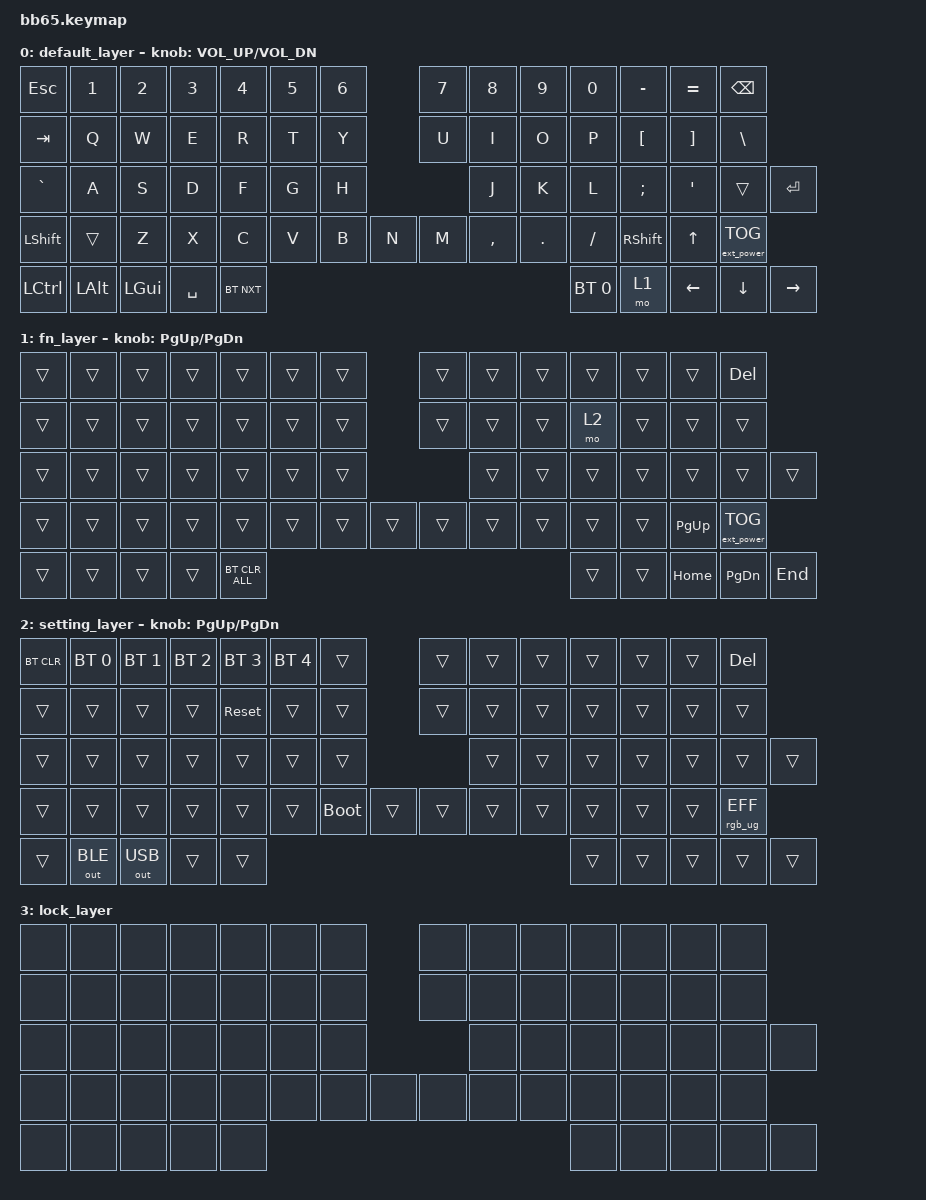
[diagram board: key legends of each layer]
/*
 * Copyright (c) 2023 The ZMK Contributors
 *
 * SPDX-License-Identifier: MIT
 */

#include <behaviors.dtsi>
#include <dt-bindings/zmk/keys.h>
#include <dt-bindings/zmk/bt.h>
#include <dt-bindings/zmk/rgb.h>
#include <dt-bindings/zmk/ext_power.h>
#include <dt-bindings/zmk/outputs.h>

#define TIMEOUT 50

// Delete this node if you didn't build with an encoder.
&encoder {
    status = "okay";
};

/ {
    combos {
        compatible = "zmk,combos";
        combo_btclr {
            timeout-ms = <TIMEOUT>;
            key-positions = <1 6>;
            bindings = <&bt BT_CLR>;
        };
        combo_reset {
            timeout-ms = <TIMEOUT>;
            key-positions = <1 3>;
            bindings = <&sys_reset>;
        };
        combo_bootloader {
            timeout-ms = <TIMEOUT>;
            key-positions = <1 15>;
            bindings = <&bootloader>;
        };
        combo_lock {
            timeout-ms = <TIMEOUT>;
            key-positions = <1 12>;
            bindings = <&tog 3>;
        };
        combo_bt_nxt {
            timeout-ms = <TIMEOUT>;
            key-positions = <1 4>;
            bindings = <&bt BT_NXT>;
        };
    };

    keymap {
        compatible = "zmk,keymap";

        default_layer {
            bindings = <
                &kp ESC             &kp N1   &kp N2 &kp N3 &kp N4   &kp N5 &kp N6 &kp N7 &kp N8    &kp N9   &kp N0    &kp MINUS &kp EQUAL &kp BSPC
                &kp TAB             &kp Q    &kp W  &kp E  &kp R    &kp T  &kp Y  &kp U  &kp I     &kp O    &kp P     &kp LBKT  &kp RBKT  &kp BSLH
                &kp GRAVE               &kp A    &kp S  &kp D  &kp F    &kp G  &kp H  &kp J  &kp K     &kp L    &kp SEMI  &kp APOS  &trans    &kp ENTER
                &kp LSHFT &trans    &kp Z    &kp X  &kp C  &kp V    &kp B  &kp N  &kp M  &kp COMMA &kp DOT  &kp FSLH  &kp RSHFT           &kp UP    &ext_power EP_TOG
                &kp LCTRL &kp LALT &kp LGUI                         &kp SPACE                      &bt BT_NXT    &bt BT_SEL 0 &mo 1  &kp LEFT  &kp DOWN  &kp RIGHT
            >;
            sensor-bindings = <&inc_dec_kp C_VOL_UP C_VOL_DN>;
        };

        fn_layer {
            bindings = <
                &trans        &trans &trans &trans &trans &trans &trans &trans &trans &trans &trans  &trans &trans  &kp DEL
                &trans        &trans &trans &trans &trans &trans &trans &trans &trans &trans &mo 2   &trans &trans  &trans
                &trans        &trans &trans &trans &trans &trans &trans &trans &trans &trans &trans  &trans &trans  &trans
                &trans &trans &trans &trans &trans &trans &trans &trans &trans &trans &trans &trans  &trans         &kp PG_UP &ext_power EP_TOG
                &trans &trans &trans          &trans                           &bt BT_CLR_ALL &trans &trans                 &kp HOME &kp PG_DN &kp END
            >;
            sensor-bindings = <&inc_dec_kp PG_UP PG_DN>;
        };

        setting_layer {
            bindings = <
                &bt BT_CLR        &bt BT_SEL 0 &bt BT_SEL 1 &bt BT_SEL 2 &bt BT_SEL 3 &bt BT_SEL 4 &trans &trans &trans &trans &trans &trans &trans &kp DEL
                &trans            &trans       &trans       &trans       &sys_reset   &trans       &trans &trans &trans &trans &trans &trans &trans &trans
                &trans            &trans       &trans       &trans       &trans       &trans       &trans &trans &trans &trans &trans &trans &trans &trans
                &trans     &trans &trans       &trans       &trans       &trans       &bootloader  &trans &trans &trans &trans &trans &trans        &trans &rgb_ug RGB_EFF
                &trans     &out OUT_BLE        &out OUT_USB                           &trans                            &trans &trans &trans &trans &trans &trans
            >;
            sensor-bindings = <&inc_dec_kp PG_UP PG_DN>;
        };

        lock_layer {
            bindings = <
                &none       &none &none &none &none &none &none &none &none &none &none &none &none &none
                &none       &none &none &none &none &none &none &none &none &none &none &none &none &none
                &none       &none &none &none &none &none &none &none &none &none &none &none &none &none
                &none &none &none &none &none &none &none &none &none &none &none &none &none       &none &none
                &none &none &none                   &none                   &none &none &none &none &none &none
            >;
        };
    };
};
